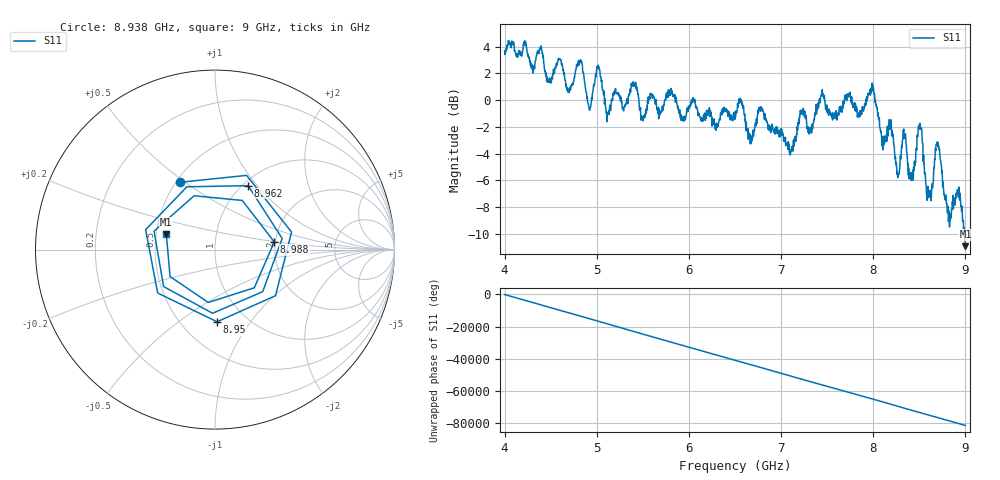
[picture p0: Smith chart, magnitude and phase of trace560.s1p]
! Created with skrf 1.8.0 (http://scikit-rf.org).
# Hz S RI R 50.0
!freq ReS11 ImS11
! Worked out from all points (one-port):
!   1601 points, 4 GHz to 9 GHz, reference 50 ohm
!   lowest |S11| = -10.9 dB at 9 GHz (marker M1), VSWR 1.79, Z = 28.3 + j5.26 ohm
!   |S11| at or under -10 dB: 8.982942 GHz to 8.984613 GHz (1.671 MHz wide, 0.0186 % of centre); 8.989793 GHz to end of sweep
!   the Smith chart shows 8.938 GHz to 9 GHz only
!   S11 on the Smith chart (normalised r, x): 8.938 GHz: 0.52, +0.48; 8.95 GHz: 0.74, -0.71; 8.962 GHz: 1.06, +0.90; 8.988 GHz: 1.97, +0.19; 9 GHz: 0.57, +0.11
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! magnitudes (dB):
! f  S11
! 4 GHz  3.6
! 4.625 GHz  2.7
! 4.697 GHz  0.7
! 4.819 GHz  2.9
! 4.919 GHz  -0.7
! 5.012 GHz  2.3
! 5.109 GHz  -1.3
! 5.25 GHz  0.3
! 5.875 GHz  -0.4
! 6.5 GHz  -1.4
! 7.125 GHz  -3.4
! 7.225 GHz  -0.9
! 7.75 GHz  0.3
! 7.991 GHz  1.0
! 8.194 GHz  -1.5
! 8.262 GHz  -5.3
! 8.334 GHz  -2.8
! 8.375 GHz  -5.0
! 8.428 GHz  -5.7
! 8.503 GHz  -2.2
! 8.6 GHz  -6.7
! 8.697 GHz  -3.3
! 8.822 GHz  -8.8
! 8.938 GHz  -7.5
! 8.95 GHz  -7.9
! 8.962 GHz  -7.9
! 8.988 GHz  -9.6
! 9 GHz  -10.9
